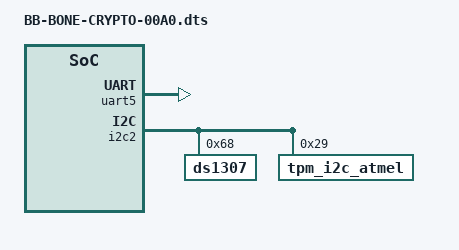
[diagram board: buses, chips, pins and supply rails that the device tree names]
/*
 * Copyright (C) 2014 Cryptotronix
 *
 * Cape support for the CryptoCape
 *
 * This program is free software; you can redistribute it and/or modify
 * it under the terms of the GNU General Public License version 2 as
 * published by the Free Software Foundation.
 */
/dts-v1/;
/plugin/;

/ {
	compatible = "ti,beaglebone", "ti,beaglebone-black", "ti,beaglebone-green";

	/* identification */
	part-number = "BB-BONE-CRYPTO";
	version = "00A0";

	/* state the resources this cape uses */
	exclusive-use =
		/* the pin header uses */
		/* For Flashing the ATmega328p */
		"P9.13",	/* uart4_txd */
		"P9.11",	/* uart4_rxd */
		"P9.23",	/* gpio1_17 */
		/* As the AUTHO Input from the AES132 */
		"P8.11",	/* gpio1_13 */
		/* the hardware ip uses */
		"uart4",
		"gpio1_13",
		"gpio1_17";

	fragment@0 {
		target = <&am33xx_pinmux>;
		__overlay__ {

			cryptocape_pins: pinmux_cryptocape_pins {
				pinctrl-single,pins = <
					0x044 0x17	/* gpio1_17 FAST | OUTPUT | PULLUP | MODE7 */
					0x034 0x2F	/* gpio1_13 FAST | INPUT | PULLDOWN | MODE7 */
				>;
			};

			cryptocape_uart4_pins: pinmux_cryptocape_uart4_pins {
				pinctrl-single,pins = <
					0x070 0x26	/* uart4_rxd | FAST | INPUT | MODE6 */
					0x074 0x06	/* uart4_txd | FAST | OUTPUT | MODE6 */
				>;
			};
		};
	};

	fragment@1 {
		target = <&uart5>;	/* uart4 to the BBB hardware */
		__overlay__ {
			status = "okay";
			pinctrl-names = "default";
			pinctrl-0 = <&cryptocape_uart4_pins>;
		};
	};


	fragment@2 {
		target = <&i2c2>;

		__overlay__ {
			/* needed to avoid gripping by DTC */
			#address-cells = <1>;
			#size-cells = <0>;

			/* Real Time Clock */
			ds1307@68 {
				compatible = "ds1307";
				reg = <0x68>;
			};

			/* TPM - Driver currently only available in 3.13.x */
			tpm_i2c_atmel@29 {
				compatible = "tpm_i2c_atmel";
				reg = <0x29>;
			};
		};
	};

	fragment@3 {
		target = <&ocp>;
		__overlay__ {

			cryptocape_gpio_helper {
				compatible = "gpio-of-helper";
				status = "okay";
				pinctrl-names = "default";
				pinctrl-0 = <&cryptocape_pins>;

				/* declare your gpios */
				atmega_rst {
					gpio-name = "atmega_rst";
					gpio = <&gpio2 17 0x00>;	/* gpio2 is gpio1 */
					output;
					init-high;
				};

				ataes132_auth {
					gpio-name = "test_input";
					gpio = <&gpio2 13 0x00>;	/* gpio2 is gpio1 */
					input;
					count-rising-edge;
					count-falling-edge;
				};
			};
		};
	};
};
